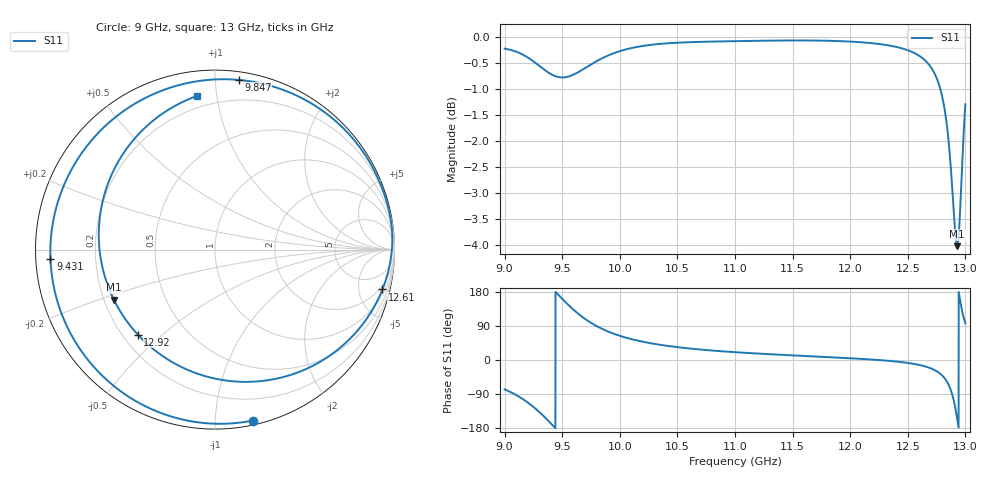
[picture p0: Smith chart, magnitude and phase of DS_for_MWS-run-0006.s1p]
! TOUCHSTONE file generated by CST DESIGN STUDIO
! Date and time: Tue Feb  4 17:43:50 2025
! Project name: C:\Work\MatlabApps\UnitCellOptimizationMatlab\CST\unitcell.cst
! Tree item: Tasks\Sweep1\SPara1\S-Parameters
! Header version: 2024
! Port assignment regex: !\s*Touchstone port\s*([0-9]+)\s*=\s*(CST MWS port|CST DES external port|CST DES block port)\s*(.+)\s* \(\"(.*)\"\)(\s*mode\s*([0-9]+))?.*
! Touchstone port assignment:
! Touchstone port 1 = CST DES external port 1 ("")
# GHz S MA R 50
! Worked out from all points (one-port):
!   4001 points, 9 GHz to 13 GHz, reference 50 ohm
!   lowest |S11| = -4.0 dB at 12.93 GHz (marker M1), VSWR 4.39, Z = 12 - j11 ohm
!   |S11| at or under -10 dB: nowhere
!   S11 on the Smith chart (normalised r, x): 9 GHz: 0.03, -1.24; 9.431 GHz: 0.04, -0.03; 9.847 GHz: 0.05, +1.15; 12.61 GHz: 1.49, -8.25; 12.92 GHz: 0.26, -0.42; 13 GHz: 0.13, +0.88
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9  0.9753 -77.5
9.13  0.9658 -97.7
9.231  0.9514 -119.1
9.345  0.9306 -149.9
9.431  0.9183 -176.7
9.5  0.9148 161.4
9.581  0.9189 137.4
9.659  0.9284 117.3
9.744  0.9408 99.2
9.847  0.9547 82.1
10  0.9699 63.9
10.216  0.9818 47.2
10.5  0.9883 33.9
11  0.9917 20.6
11.5  0.9932 12.2
12  0.9907 4.6
12.5  0.9719 -7.7
12.605  0.959 -13.4
12.73  0.924 -26.1
12.807  0.8679 -43.5
12.844  0.8143 -59.2
12.876  0.7424 -81.6
12.897  0.6841 -104.2
12.916  0.6396 -132.3
12.928  0.6288 -153.7
12.956  0.6875 154.0
12.979  0.7848 119.4
13  0.862 96.6
